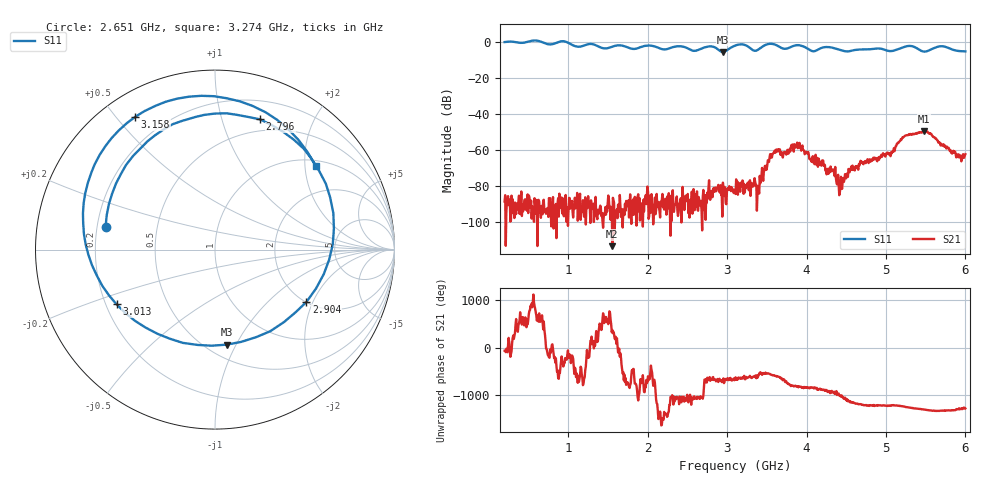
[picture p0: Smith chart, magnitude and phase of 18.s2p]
! NanoVNA-App
! Date: 2024-06-25 16:11:19
! Start: 200MHz Stop: 6GHz Points: 801
! S-Parameter data: F S11 S21 S12 S22
# Hz S RI R 50
!  Frequency  S11_Real  S11_Imag  S21_Real  S21_Imag  S12_Real  S12_Imag  S22_Real  S22_Imag
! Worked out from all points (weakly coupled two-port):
!   801 points, 200 MHz to 6 GHz, reference 50 ohm
!   highest |S21| = -49.64 dB at 5.478 GHz (marker M1); lowest = -113.5 dB at 1.556 GHz (marker M2)
!   lowest |S11| = -5.5 dB at 2.948 GHz (marker M3), VSWR 3.29, Z = 31 - j45.8 ohm
!   |S11| at or under -10 dB: nowhere
!   S12 and S22 are empty: the file has one direction only
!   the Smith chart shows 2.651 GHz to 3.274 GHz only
!   S11 on the Smith chart (normalised r, x): 2.651 GHz: 0.23, +0.10; 2.796 GHz: 0.38, +1.33; 2.904 GHz: 2.01, -1.79; 3.013 GHz: 0.24, -0.24; 3.158 GHz: 0.10, +0.56; 3.274 GHz: 1.15, +2.28
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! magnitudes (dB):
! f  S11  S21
! 200 MHz  0.0  -88.7
! 1.171 GHz  -2.3  -93.8
! 1.556 GHz  -2.5  -113.5
! 2.136 GHz  -3.1  -88.9
! 2.651 GHz  -4.1  -88.0
! 2.796 GHz  -2.3  -85.7
! 2.904 GHz  -4.6  -83.1
! 2.948 GHz  -5.5  -78.2
! 3.013 GHz  -4.0  -82.0
! 3.1 GHz  -1.9  -82.1
! 3.158 GHz  -1.3  -80.1
! 3.274 GHz  -2.7  -82.4
! 3.39 GHz  -4.2  -80.0
! 3.615 GHz  -1.6  -60.0
! 3.883 GHz  -1.7  -55.9
! 4.072 GHz  -5.0  -64.8
! 4.434 GHz  -4.5  -74.9
! 4.557 GHz  -4.9  -70.3
! 5.036 GHz  -4.9  -61.7
! 5.239 GHz  -2.5  -52.1
! 5.478 GHz  -5.2  -49.6
! 6 GHz  -5.1  -62.3
